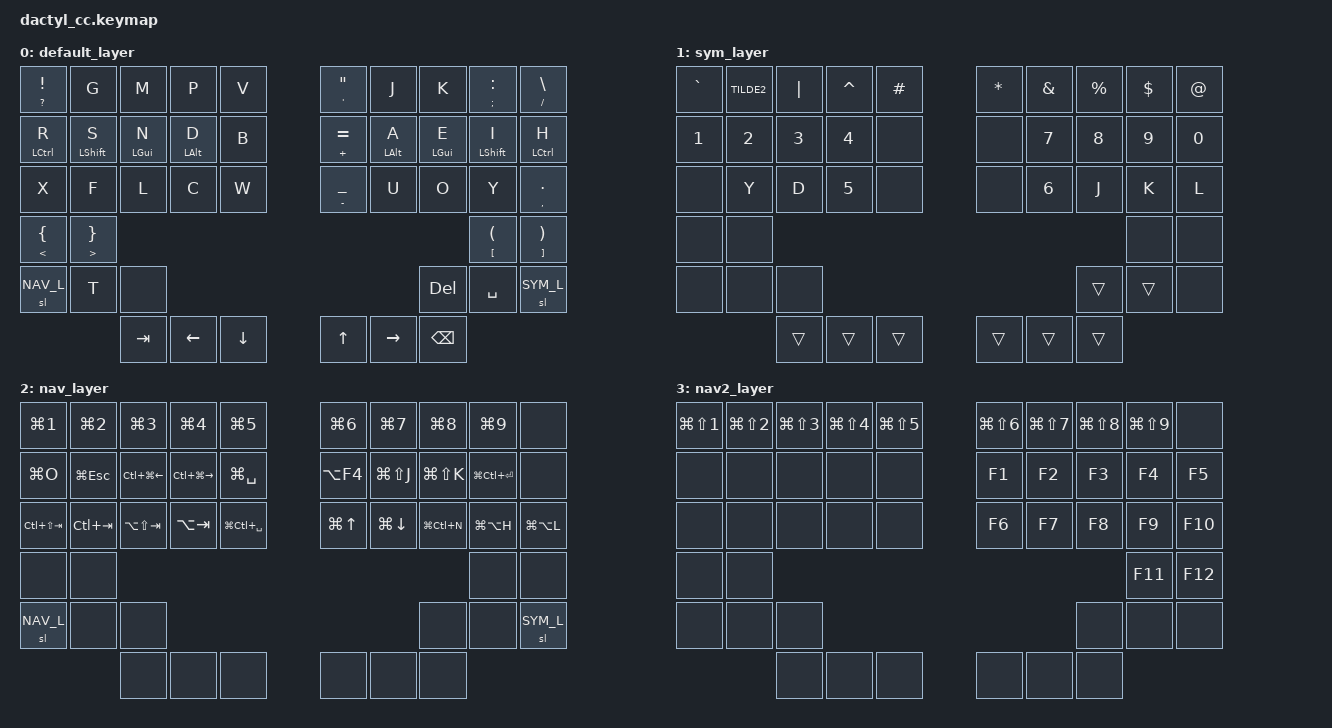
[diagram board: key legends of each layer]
#include <behaviors.dtsi>
#include <dt-bindings/zmk/keys.h>
#include <dt-bindings/zmk/bt.h>
#include <dt-bindings/zmk/outputs.h>

// #############      SWEDISH COMPATIBLE SPECIAL CHARACTERS        #################
#define SE_AA LEFT_BRACKET
#define SE_AE SQT
#define SE_OE SEMICOLON

// #############      LAYERS        #################
#define SYM_L 1
#define NAV_L 2
#define NAV2_L 3
//#define OTHER_L 4

// Desktop and tab navigation shortcuts
#define DESKTOP_LT   LC(LG(LEFT))
#define DESKTOP_RT   LC(LG(RIGHT))
#define WINDOW_LT    LA(LS(TAB))
#define WINDOW_RT    LA(TAB)
#define TAB_LT       LC(LS(TAB))
#define TAB_RT       LC(TAB)

// Generic bindings
#define KILL_WINDOW  LA(F4)
#define MAXIMIZE  LG(UP)
#define MINIMIZE  LG(DOWN)

// Linux specific navigation 
#define DESKTOP_PREV   LG(ESC)
#define DESKTOP_SPEC   LG(O)

#define WINDOW_1   LG(NUMBER_1)
#define WINDOW_2   LG(NUMBER_2)
#define WINDOW_3   LG(NUMBER_3)
#define WINDOW_4   LG(NUMBER_4)
#define WINDOW_5   LG(NUMBER_5)
#define WINDOW_6   LG(NUMBER_6)
#define WINDOW_7   LG(NUMBER_7)
#define WINDOW_8   LG(NUMBER_8)
#define WINDOW_9   LG(NUMBER_9)

#define SEND_W_TO_1   LG(LS(NUMBER_1))
#define SEND_W_TO_2   LG(LS(NUMBER_2))
#define SEND_W_TO_3   LG(LS(NUMBER_3))
#define SEND_W_TO_4   LG(LS(NUMBER_4))
#define SEND_W_TO_5   LG(LS(NUMBER_5))
#define SEND_W_TO_6   LG(LS(NUMBER_6))
#define SEND_W_TO_7   LG(LS(NUMBER_7))
#define SEND_W_TO_8   LG(LS(NUMBER_8))
#define SEND_W_TO_9   LG(LS(NUMBER_9))

#define ROT_LAYOUT          LG(SPACE)
#define TOGGLE_FLOATING     LG(LC(SPACE))
#define MOVE_TO_MASTER      LG(LC(RET))
#define ROTATE_WINDOW_LT    LG(LS(J))
#define ROTATE_WINDOW_RT    LG(LS(K))

#define UN_MINIMIZE     LG(LC(N))

#define SHRINK_WIDTH    LG(LA(H))
#define EXPAND_WIDTH    LG(LA(L))
#define INC_COL         LG(LC(H))
#define DEC_COL         LG(LC(L))
#define INC_MASTER      LG(LS(H))
#define DEC_MASTER      LG(LS(L))

&mt {
    tapping-term-ms = <500>;
};


 &sl {
     release-after-ms = <2000>;
 };

/ {
    macros {
        uppercase_G: uppercase_G {
            label = "uppercase_G";
            compatible = "zmk,behavior-macro";
            #binding-cells = <0>;
            bindings
                = <&macro_press &kp LSHFT>
                , <&macro_tap &kp G>
                , <&macro_release &kp LSHFT>
                ;
      };
    };

    combos {
        compatible = "zmk,combos";
        combo_q {
            timeout-ms = <50>;
            key-positions = <5 6>;
            bindings = <&kp Q>;
        };
        combo_z {
            timeout-ms = <50>;
            key-positions = <5 7>;
            bindings = <&kp Z>;
        };
        combo_aa {
            timeout-ms = <50>;
            key-positions = <6 9>;
            bindings = <&kp SE_AA>;
        };
        combo_ae {
            timeout-ms = <50>;
            key-positions = <7 9>;
            bindings = <&kp SE_AE>;
        };
        combo_oe {
            timeout-ms = <50>;
            key-positions = <8 9>;
            bindings = <&kp SE_OE>;
        };
        combo_return {
            timeout-ms = <50>;
            key-positions = <17 18>;
            bindings = <&kp RETURN>;
        };
        combo_esc {
            timeout-ms = <50>;
            key-positions = <18 19>;
            bindings = <&kp ESCAPE>;
        };
    };

    conditional_layers {
        compatible = "zmk,conditional-layers";
        tri_layer {
            if-layers = <1 2>;
            then-layer = <4>;
        };
    };

    behaviors {
        hm: homerow_mods {
            compatible = "zmk,behavior-hold-tap";
            label = "HOMEROW_MODS";
            #binding-cells = <2>;
            tapping-term-ms = <300>;
            quick-tap-ms = <0>;
            flavor = "tap-preferred";
            bindings = <&kp>, <&kp>;
        };
    };

    keymap {
        compatible = "zmk,keymap";

        default_layer {
            bindings = <
    &hm QUESTION EXCLAMATION     &kp G    &kp M     &kp P     &kp V                                &hm SQT DQT                          &kp J     &kp K     &hm SEMICOLON COLON     &hm SLASH  BACKSLASH   
    &hm LCTRL R     &hm LSHIFT S    &hm LGUI N     &hm LALT D     &kp B                              &hm PLUS EQUAL     &hm LALT A     &hm LGUI E     &hm LSHIFT I     &hm LCTRL H
    &kp X     &kp F    &kp L     &kp C     &kp W                                                    &hm MINUS UNDERSCORE     &kp U     &kp O     &kp Y    &hm COMMA PERIOD 
              &hm  LT LEFT_BRACE &hm  GT RIGHT_BRACE                                                                 &hm LEFT_BRACKET LEFT_PARENTHESIS &hm RIGHT_BRACKET RIGHT_PARENTHESIS 
                      &sl NAV_L   &kp T       &none                  &kp DEL   &kp SPACE    &sl SYM_L 
                      &kp TAB &kp LEFT_ARROW  &kp DOWN_ARROW        &kp UP_ARROW   &kp RIGHT_ARROW   &kp BACKSPACE
            >;
        };

sym_layer {
            bindings = <
               &kp GRAVE     &kp TILDE2       &kp PIPE     &kp CARET      &kp HASH     &kp STAR             &kp AMPS      &kp PERCENT     &kp DOLLAR     &kp AT_SIGN 
    &kp NUMBER_1     &kp NUMBER_2    &kp NUMBER_3     &kp NUMBER_4     &none                              &none     &kp NUMBER_7     &kp NUMBER_8     &kp NUMBER_9     &kp NUMBER_0
    &none      &kp Y          &kp D                    &kp NUMBER_5     &none                              &none     &kp NUMBER_6     &kp J     &kp K     &kp L 
                      &none &none                                                                       &none    &none
                      &none   &none   &none                  &trans   &trans   &none
                      &trans   &trans   &trans                  &trans   &trans   &trans
            >;
        };


        nav_layer {
            bindings = <
                &kp WINDOW_1        &kp WINDOW_2        &kp WINDOW_3       &kp WINDOW_4          &kp WINDOW_5                                     &kp WINDOW_6     &kp WINDOW_7     &kp WINDOW_8     &kp WINDOW_9          &none
                &kp DESKTOP_SPEC     &kp DESKTOP_PREV     &kp DESKTOP_LT      &kp DESKTOP_RT         &kp ROT_LAYOUT                                &kp KILL_WINDOW   &kp ROTATE_WINDOW_LT       &kp ROTATE_WINDOW_RT   &kp MOVE_TO_MASTER       &none
                &kp TAB_LT     &kp TAB_RT     &kp WINDOW_LT       &kp WINDOW_RT      &kp TOGGLE_FLOATING                                          &kp MAXIMIZE       &kp MINIMIZE        &kp UN_MINIMIZE    &kp SHRINK_WIDTH     &kp EXPAND_WIDTH
                      &none &none                                                                       &none    &none
                                                  &sl NAV_L     &none     &none         &none     &none        &sl SYM_L
                      &none   &none   &none                 &none   &none   &none 


            >;
        };

        nav2_layer {
            bindings = <
                &kp SEND_W_TO_1        &kp SEND_W_TO_2        &kp SEND_W_TO_3       &kp SEND_W_TO_4          &kp SEND_W_TO_5       &kp SEND_W_TO_6     &kp SEND_W_TO_7     &kp SEND_W_TO_8     &kp SEND_W_TO_9          &none
                &none   &none   &none   &none      &none                   &kp F1  &kp F2 &kp F3  &kp F4  &kp F5 
                &none   &none   &none   &none                 &none                       &kp F6 &kp F7 &kp F8  &kp F9  &kp F10 
                                                        &none     &none       &kp F11  &kp F12
                                                &none   &none   &none                 &none   &none   &none 
                                                &none   &none   &none                 &none   &none   &none 
                
            >;
        };
    };
};


   
   
        //other_layer {
           // bindings = <
             //   &none     &none     &none      &none          &none       &none           &kp C_PREV         &kp C_PLAY_PAUSE      &kp C_NEXT     &none
               // &none     &none     &none      &none  &none     &kp C_MUTE           &kp C_VOLUME_DOWN         &kp   C_VOLUME_UP    &none     &none
 //               &none     &none     &none      &none          &none       &none           &none       &kp  C_BRIGHTNESS_DEC     &kp    C_BRIGHTNESS_INC  &none
   //                                               &none          &none       &none           &none
     //       >;
       // };
